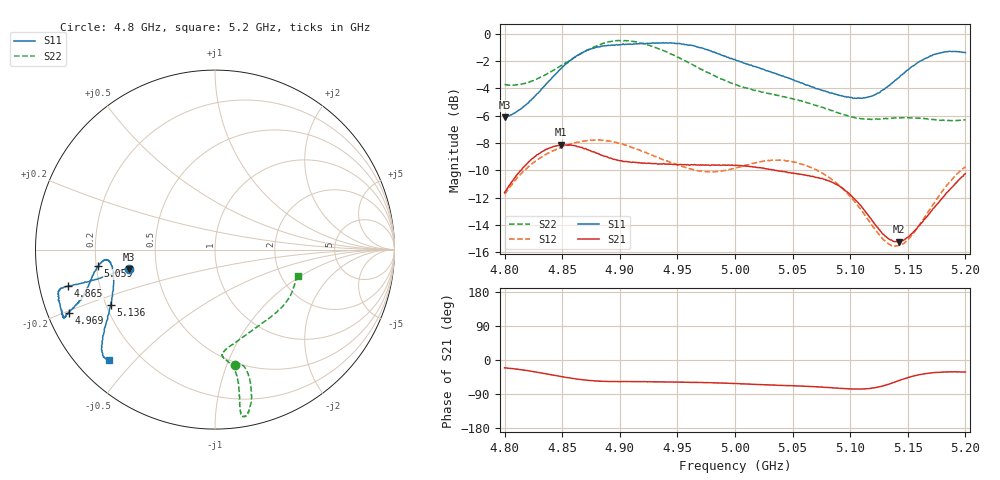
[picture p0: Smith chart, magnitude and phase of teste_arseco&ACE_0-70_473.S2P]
! Network Analyzer HP8722D
! Hewlett-Packard
! Data name: Linha & Wilkinson
! Saver's name: Rodrigo Anjos
! Comments: Teste da utilização de aquisição
! continua pelo VNA HP8722D
! Time and date: 8/5/2025 16:42
!  Frequency  S11  S21  S12  S22
# HZ  S  MA R 50
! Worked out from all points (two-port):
!   401 points, 4.8 GHz to 5.2 GHz, reference 50 ohm
!   highest |S21| = -8.13 dB at 4.849 GHz (marker M1); lowest = -15.2 dB at 5.142 GHz (marker M2)
!   |S21| within 3 dB of the highest: 4.804 GHz to 5.09 GHz (286.2 MHz wide, 5.79 % of centre); 5.189741 GHz to end of sweep
!   lowest |S11| = -6.1 dB at 4.8 GHz (marker M3), VSWR 2.95, Z = 17.1 - j4.89 ohm
!   |S11| at or under -10 dB: nowhere
!   |S22| runs from -6.4 to -0.5 dB; largest |S21 - S12| = 0.62
!   S11 on the Smith chart (normalised r, x): 4.8 GHz: 0.34, -0.10; 4.865 GHz: 0.09, -0.12; 4.969 GHz: 0.06, -0.21; 5.059 GHz: 0.21, -0.07; 5.136 GHz: 0.22, -0.24; 5.2 GHz: 0.09, -0.42
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4.8e9  0.4937 -167.4  0.2621 -20.7  0.2584 -141.7  0.6529 -80.2
4.821e9  0.5612 -167.1  0.3398 -28.7  0.3268 -145.0  0.6645 -76.4
4.849e9  0.7452 -166.0  0.3923 -43.7  0.3843 -150.1  0.764 -75.1
4.865e9  0.8421 -166.1  0.385 -51.0  0.4017 -152.7  0.8395 -75.9
4.867e9  0.852 -166.1  0.3838 -52.0  0.4034 -153.0  0.8487 -76.1
4.879e9  0.8914 -165.8  0.3663 -55.2  0.408 -154.9  0.8994 -77.4
4.899e9  0.9112 -163.1  0.3435 -57.0  0.3976 -157.2  0.9446 -79.9
4.934e9  0.9258 -156.6  0.3335 -57.9  0.3516 -156.0  0.8793 -81.0
4.969e9  0.8892 -156.6  0.3303 -59.2  0.3144 -147.6  0.7471 -80.1
5e9  0.805 -159.3  0.3295 -62.2  0.3225 -137.6  0.6521 -81.7
5.035e9  0.7159 -165.9  0.3159 -66.4  0.3445 -135.1  0.5969 -85.8
5.059e9  0.6577 -172.0  0.3044 -69.0  0.3324 -137.0  0.5648 -84.5
5.067e9  0.638 -173.5  0.3009 -70.0  0.3223 -137.8  0.5516 -82.5
5.083e9  0.6066 -174.6  0.2872 -73.3  0.295 -139.2  0.5243 -76.3
5.099e9  0.5861 -172.3  0.2602 -76.2  0.2561 -139.5  0.4995 -67.2
5.114e9  0.5844 -165.4  0.2207 -75.9  0.2127 -136.0  0.4867 -56.5
5.134e9  0.6468 -153.3  0.1767 -63.2  0.1693 -118.7  0.4908 -42.9
5.136e9  0.6581 -152.1  0.1755 -61.2  0.1676 -116.2  0.4913 -41.6
5.142e9  0.6892 -149.0  0.1731 -54.5  0.1678 -108.1  0.4923 -38.3
5.154e9  0.7605 -144.2  0.1862 -42.9  0.1844 -93.7  0.4922 -32.0
5.172e9  0.838 -139.0  0.2288 -33.6  0.2374 -81.1  0.4853 -24.5
5.2e9  0.8528 -133.8  0.3073 -31.9  0.3258 -77.6  0.4835 -17.7
